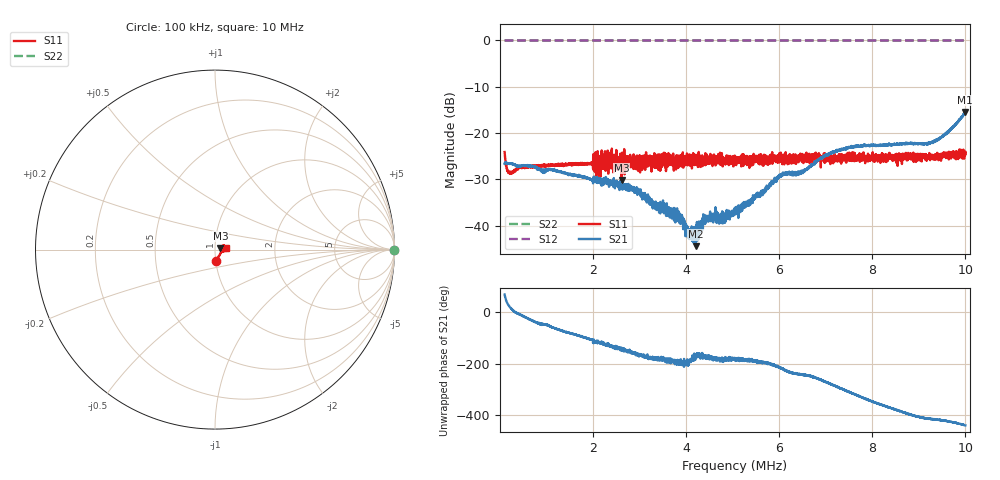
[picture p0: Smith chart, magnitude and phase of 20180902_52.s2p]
! Anritsu VNA Master:  Model: MS2026C/19
! SN:  1815009
! /card0/usr/20180902_52.s2p
! Existing Calibration Information:
! TYPE:  Current Settings,  Active Cal Settings
! TIME:  09/03/2018 01:45:00 AM,  09/02/2018 11:58:48 AM
! INTERNAL TEMP:  49.0 C,  48.8 C
! # POINTS:  4001,  4001
! START FREQ:  100.000 kHz,  100.000 kHz
! STOP FREQ:  10.000 MHz,  10.000 MHz
! SOURCE POWER:  Low,  Low
! IFBW:  500 Hz,  500 Hz
! AVG FACTOR:  5 ,  1
! REF PLANE 1:  0 mm,  0 mm
! REF PLANE 2:  0 mm,  0 mm
! CAL TYPE:  1P2P S11,S21,  1P2P S11,S21
! CAL METHOD:  SOLT,  SOLT
! CAL LINE TYPE:  Coax,  Coax
! DUT PORT 1:  N-Conn(M),  N-Conn(M)
! DUT PORT 2:  N-Conn(M),  N-Conn(M)
! CAL STATUS:  OK: Accuracy High,  --
# GHZ S RI R 50.0
! FREQ.GHZ  S11RE  S11IM  S21RE  S21IM  S12RE  S12IM  S22RE  S22IM
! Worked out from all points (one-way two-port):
!   4001 points, 100 kHz to 10 MHz, reference 50 ohm
!   highest |S21| = -15.47 dB at 9.998 MHz (marker M1); lowest = -44.4 dB at 4.206 MHz (marker M2)
!   lowest |S11| = -30.1 dB at 2.612 MHz (marker M3), VSWR 1.06, Z = 53 + j1.04 ohm
!   |S11| at or under -10 dB: start of sweep to end of sweep
!   |S22| runs from 0.0 to 0.0 dB; largest |S21 - S12| = 1
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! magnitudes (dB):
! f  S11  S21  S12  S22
! 100 kHz  -24.1  -26.6  0.0  0.0
! 166.8 kHz  -28.2  -26.7  0.0  0.0
! 221.3 kHz  -28.4  -26.6  0.0  0.0
! 451.4 kHz  -27.2  -27.1  0.0  0.0
! 1.751 MHz  -26.6  -29.3  0.0  0.0
! 2.612 MHz  -30.1  -31.7  0.0  0.0
! 2.983 MHz  -25.8  -32.6  0.0  0.0
! 3.402 MHz  -27.9  -36.5  0.0  0.0
! 3.765 MHz  -26.3  -37.1  0.0  0.0
! 4.05 MHz  -26.2  -41.7  0.0  0.0
! 4.206 MHz  -26.8  -44.4  0.0  0.0
! 4.414 MHz  -24.3  -38.7  0.0  0.0
! 5.05 MHz  -26.0  -37.3  0.0  0.0
! 6.055 MHz  -25.9  -29.1  0.0  0.0
! 6.463 MHz  -25.1  -28.5  0.0  0.0
! 6.701 MHz  -25.3  -26.9  0.0  0.0
! 7.485 MHz  -25.4  -23.2  0.0  0.0
! 8.352 MHz  -24.8  -22.5  0.0  0.0
! 9.285 MHz  -24.7  -21.9  0.0  0.0
! 9.567 MHz  -24.2  -20.1  0.0  0.0
! 9.998 MHz  -24.4  -15.5  0.0  0.0
! 10 MHz  -24.1  -15.6  0.0  0.0
